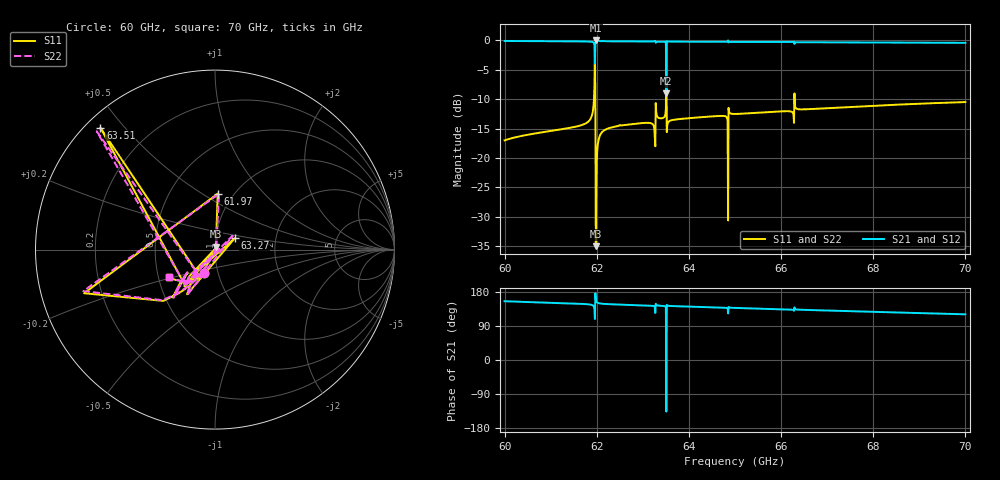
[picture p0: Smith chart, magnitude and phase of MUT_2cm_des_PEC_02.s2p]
! TOUCHSTONE file generated by CST MICROWAVE STUDIO
! Date and time: Tue Feb 27 23:34:14 2024
! Project name: material_desal.cst
! Header version: 2018
! Port assignment regex: !\s*Touchstone port\s*([0-9]+)\s*=\s*(CST MWS port|CST DS port)\s*([0-9]+|Zmin|Zmax)\s*\(\"(.*)\"\)(\s*mode\s*([0-9]+))?.*
! Touchstone port assignment:
! Touchstone port 1 = CST MWS port 1 ("")
! Touchstone port 2 = CST MWS port 2 ("")
# GHz S MA R 376.7
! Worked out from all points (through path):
!   1001 points, 60 GHz to 70 GHz, reference 376.7 ohm
!   highest |S21| = 0.00 dB at 61.98 GHz (marker M1); lowest = -9.0 dB at 63.51 GHz (marker M2)
!   lowest |S11| = -35.0 dB at 61.98 GHz (marker M3), VSWR 1.04, Z = 380 + j12.9 ohm
!   |S11| at or under -10 dB: start of sweep to 61.94 GHz; 63.52 GHz to 66.29 GHz (2.772 GHz wide, 4.27 % of centre); 66.29 GHz to end of sweep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
!   |S22| runs from -35.0 to -0.6 dB; largest |S21 - S12| = 0.001
!   S11 on the Smith chart (normalised r, x): 60 GHz: 0.86, -0.23; 61.97 GHz: 0.85, +0.58; 63.27 GHz: 1.23, +0.16; 63.51 GHz: 0.04, +0.43; 70 GHz: 0.57, -0.19
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60  0.1412 -114.6  0.9898 155.2  0.99 155.2  0.1413 -115.0
61.67  0.1904 -121.6  0.9817 148.2  0.9817 148.2  0.1904 -122.1
61.86  0.214 -123.5  0.9768 146.3  0.9767 146.3  0.214 -124.0
61.92  0.2571 -126.1  0.9662 143.6  0.9662 143.6  0.2571 -126.7
61.97  0.3118 87.2  0.95 176.5  0.95 176.5  0.3117 85.8
61.98  0.01777 72.9  1 159.4  0.9999 159.4  0.01782 65.1
62.03  0.1364 -119.6  0.9908 150.4  0.9906 150.4  0.1364 -119.7
62.07  0.1556 -120.8  0.9877 149.2  0.9878 149.2  0.1558 -121.0
62.18  0.1737 -122.0  0.9849 147.9  0.9848 147.9  0.1735 -122.2
63.27  0.1258 29.8  0.9918 124.1  0.9917 124.1  0.1253 38.1
63.34  0.2196 -126.4  0.9755 143.5  0.9756 143.5  0.2196 -126.5
63.45  0.2204 -127.4  0.9753 142.5  0.9753 142.5  0.22 -127.6
63.46  0.222 -127.6  0.975 142.3  0.975 142.3  0.2215 -127.7
63.51  0.9327 133.2  0.3557 -136.2  0.3555 -136.4  0.9317 135.0
63.56  0.2037 -126.8  0.979 143.0  0.979 143.0  0.2036 -127.2
63.57  0.2054 -127.0  0.9787 142.9  0.9787 142.9  0.2052 -127.3
64.76  0.2277 -131.9  0.9737 138.0  0.9733 138.0  0.2277 -132.2
64.8  0.2257 -132.2  0.9742 137.7  0.9738 137.7  0.2257 -132.4
65  0.2369 -132.4  0.9715 137.5  0.9714 137.5  0.2369 -132.7
66.67  0.2611 -138.2  0.9653 131.7  0.9653 131.7  0.261 -138.4
68.34  0.2822 -143.9  0.9595 126.0  0.9595 126.0  0.2819 -144.1
70  0.2991 -149.5  0.9542 120.5  0.9544 120.5  0.2992 -149.5
